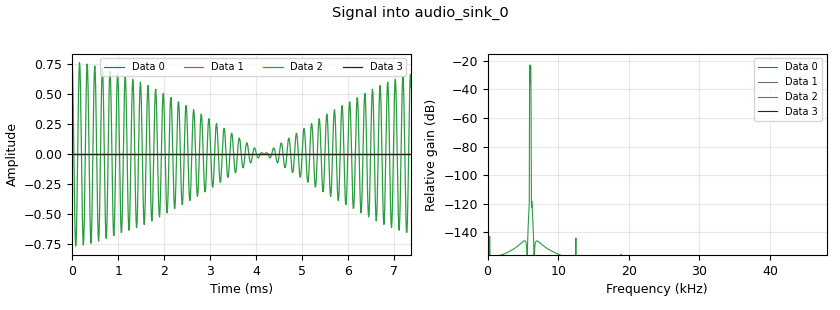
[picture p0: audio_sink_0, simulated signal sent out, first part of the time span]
<?xml version='1.0' encoding='utf-8'?>
<?grc format='1' created='3.7.13'?>
<flow_graph>
<block>
<key>options</key>
<param><key>id</key><value>top_block</value></param>
<param><key>generate_options</key><value>qt_gui</value></param>
</block>
<block>
<key>variable</key>
<param><key>id</key><value>avg_fact</value></param>
<param><key>value</key><value>16</value></param>
</block>
<block>
<key>variable</key>
<param><key>id</key><value>delay</value></param>
<param><key>value</key><value>fft_len/2</value></param>
</block>
<block>
<key>variable_qtgui_range</key>
<param><key>id</key><value>fc</value></param>
<param><key>value</key><value>6000</value></param>
<param><key>label</key><value>F_c</value></param>
<param><key>orient</key><value>Qt.Horizontal</value></param>
<param><key>start</key><value>20</value></param>
<param><key>step</key><value>10</value></param>
<param><key>stop</key><value>24000</value></param>
</block>
<block>
<key>variable</key>
<param><key>id</key><value>fft_len</value></param>
<param><key>value</key><value>8192</value></param>
</block>
<block>
<key>variable</key>
<param><key>id</key><value>samp_rate</value></param>
<param><key>value</key><value>96000</value></param>
</block>
<block>
<key>variable_qtgui_range</key>
<param><key>id</key><value>sep</value></param>
<param><key>value</key><value>100</value></param>
<param><key>label</key><value>Separation</value></param>
<param><key>orient</key><value>Qt.Horizontal</value></param>
<param><key>start</key><value>20</value></param>
<param><key>step</key><value>10</value></param>
<param><key>stop</key><value>1000</value></param>
</block>
<block>
<key>analog_sig_source_x</key>
<param><key>id</key><value>analog_sig_source_x_0</value></param>
<param><key>amp</key><value>.4</value></param>
<param><key>freq</key><value>fc</value></param>
<param><key>offset</key><value>0</value></param>
<param><key>type</key><value>float</value></param>
<param><key>samp_rate</key><value>samp_rate</value></param>
<param><key>waveform</key><value>analog.GR_COS_WAVE</value></param>
</block>
<block>
<key>analog_sig_source_x</key>
<param><key>id</key><value>analog_sig_source_x_0_0</value></param>
<param><key>amp</key><value>.4</value></param>
<param><key>freq</key><value>fc+sep</value></param>
<param><key>offset</key><value>0</value></param>
<param><key>type</key><value>float</value></param>
<param><key>samp_rate</key><value>samp_rate</value></param>
<param><key>waveform</key><value>analog.GR_COS_WAVE</value></param>
</block>
<block>
<key>audio_sink</key>
<param><key>id</key><value>audio_sink_0</value></param>
<param><key>device_name</key><value>hw:USB,0</value></param>
<param><key>num_inputs</key><value>4</value></param>
<param><key>samp_rate</key><value>samp_rate</value></param>
</block>
<block>
<key>audio_source</key>
<param><key>id</key><value>audio_source_0</value></param>
<param><key>device_name</key><value>hw:USB,0</value></param>
<param><key>num_outputs</key><value>2</value></param>
<param><key>samp_rate</key><value>samp_rate</value></param>
</block>
<block>
<key>blocks_add_xx</key>
<param><key>id</key><value>blocks_add_xx_0</value></param>
<param><key>type</key><value>float</value></param>
</block>
<block>
<key>blocks_complex_to_mag_squared</key>
<param><key>id</key><value>blocks_complex_to_mag_squared_0</value></param>
<param><key>vlen</key><value>fft_len</value></param>
</block>
<block>
<key>blocks_complex_to_mag_squared</key>
<param><key>id</key><value>blocks_complex_to_mag_squared_0_0</value></param>
<param><key>vlen</key><value>fft_len</value></param>
</block>
<block>
<key>blocks_complex_to_mag_squared</key>
<param><key>id</key><value>blocks_complex_to_mag_squared_0_0_0</value></param>
<param><key>vlen</key><value>fft_len</value></param>
</block>
<block>
<key>blocks_complex_to_mag_squared</key>
<param><key>id</key><value>blocks_complex_to_mag_squared_0_1</value></param>
<param><key>vlen</key><value>fft_len</value></param>
</block>
<block>
<key>blocks_delay</key>
<param><key>id</key><value>blocks_delay_0</value></param>
<param><key>delay</key><value>delay</value></param>
<param><key>type</key><value>float</value></param>
</block>
<block>
<key>blocks_delay</key>
<param><key>id</key><value>blocks_delay_0_0</value></param>
<param><key>delay</key><value>delay</value></param>
<param><key>type</key><value>float</value></param>
</block>
<block>
<key>blocks_nlog10_ff</key>
<param><key>id</key><value>blocks_nlog10_ff_0</value></param>
<param><key>vlen</key><value>fft_len</value></param>
<param><key>k</key><value>-10*np.log10(fft_len)</value></param>
<param><key>n</key><value>10</value></param>
</block>
<block>
<key>blocks_nlog10_ff</key>
<param><key>id</key><value>blocks_nlog10_ff_0_0</value></param>
<param><key>vlen</key><value>fft_len</value></param>
<param><key>k</key><value>-10*np.log10(fft_len)</value></param>
<param><key>n</key><value>10</value></param>
</block>
<block>
<key>blocks_null_source</key>
<param><key>id</key><value>blocks_null_source_0</value></param>
<param><key>bus_conns</key><value>[[0,],]</value></param>
<param><key>type</key><value>float</value></param>
</block>
<block>
<key>blocks_stream_mux</key>
<param><key>id</key><value>blocks_stream_mux_0</value></param>
<param><key>lengths</key><value>1, 1</value></param>
<param><key>type</key><value>float</value></param>
<param><key>vlen</key><value>fft_len</value></param>
</block>
<block>
<key>blocks_stream_mux</key>
<param><key>id</key><value>blocks_stream_mux_0_0</value></param>
<param><key>lengths</key><value>1, 1</value></param>
<param><key>type</key><value>float</value></param>
<param><key>vlen</key><value>fft_len</value></param>
</block>
<block>
<key>blocks_stream_to_vector</key>
<param><key>id</key><value>blocks_stream_to_vector_0</value></param>
<param><key>type</key><value>float</value></param>
<param><key>num_items</key><value>fft_len</value></param>
</block>
<block>
<key>blocks_stream_to_vector</key>
<param><key>id</key><value>blocks_stream_to_vector_0_0</value></param>
<param><key>type</key><value>float</value></param>
<param><key>num_items</key><value>fft_len</value></param>
</block>
<block>
<key>blocks_stream_to_vector</key>
<param><key>id</key><value>blocks_stream_to_vector_0_0_0</value></param>
<param><key>type</key><value>float</value></param>
<param><key>num_items</key><value>fft_len</value></param>
</block>
<block>
<key>blocks_stream_to_vector</key>
<param><key>id</key><value>blocks_stream_to_vector_0_1</value></param>
<param><key>type</key><value>float</value></param>
<param><key>num_items</key><value>fft_len</value></param>
</block>
<block>
<key>blocks_vector_to_stream</key>
<param><key>id</key><value>blocks_vector_to_stream_0</value></param>
<param><key>type</key><value>float</value></param>
<param><key>num_items</key><value>fft_len</value></param>
</block>
<block>
<key>blocks_vector_to_stream</key>
<param><key>id</key><value>blocks_vector_to_stream_0_0</value></param>
<param><key>type</key><value>float</value></param>
<param><key>num_items</key><value>fft_len</value></param>
</block>
<block>
<key>fft_vxx</key>
<param><key>id</key><value>fft_vxx_0</value></param>
<param><key>fft_size</key><value>fft_len</value></param>
<param><key>forward</key><value>True</value></param>
<param><key>type</key><value>float</value></param>
<param><key>shift</key><value>True</value></param>
<param><key>window</key><value>window.hann(fft_len)</value></param>
</block>
<block>
<key>fft_vxx</key>
<param><key>id</key><value>fft_vxx_0_0</value></param>
<param><key>fft_size</key><value>fft_len</value></param>
<param><key>forward</key><value>True</value></param>
<param><key>type</key><value>float</value></param>
<param><key>shift</key><value>True</value></param>
<param><key>window</key><value>window.hann(fft_len)</value></param>
</block>
<block>
<key>fft_vxx</key>
<param><key>id</key><value>fft_vxx_0_0_0</value></param>
<param><key>fft_size</key><value>fft_len</value></param>
<param><key>forward</key><value>True</value></param>
<param><key>type</key><value>float</value></param>
<param><key>shift</key><value>True</value></param>
<param><key>window</key><value>window.hann(fft_len)</value></param>
</block>
<block>
<key>fft_vxx</key>
<param><key>id</key><value>fft_vxx_0_1</value></param>
<param><key>fft_size</key><value>fft_len</value></param>
<param><key>forward</key><value>True</value></param>
<param><key>type</key><value>float</value></param>
<param><key>shift</key><value>True</value></param>
<param><key>window</key><value>window.hann(fft_len)</value></param>
</block>
<block>
<key>import</key>
<param><key>id</key><value>import_0_0_0</value></param>
<param><key>import</key><value>import numpy as np</value></param>
</block>
<block>
<key>qtgui_time_sink_x</key>
<param><key>id</key><value>qtgui_time_sink_x_0</value></param>
<param><key>ctrlpanel</key><value>True</value></param>
<param><key>color1</key><value>"blue"</value></param>
<param><key>label1</key><value></value></param>
<param><key>color2</key><value>"red"</value></param>
<param><key>label2</key><value></value></param>
<param><key>nconnections</key><value>2</value></param>
<param><key>size</key><value>fft_len</value></param>
<param><key>srate</key><value>1</value></param>
<param><key>type</key><value>float</value></param>
<param><key>update_time</key><value>0.01</value></param>
<param><key>ymax</key><value>10</value></param>
<param><key>ymin</key><value>-100</value></param>
</block>
<block>
<key>shfcc_vaverage_ff</key>
<param><key>id</key><value>shfcc_vaverage_ff_0</value></param>
<param><key>m</key><value>avg_fact</value></param>
<param><key>vlen</key><value>fft_len</value></param>
</block>
<block>
<key>shfcc_vaverage_ff</key>
<param><key>id</key><value>shfcc_vaverage_ff_0_0</value></param>
<param><key>m</key><value>avg_fact</value></param>
<param><key>vlen</key><value>fft_len</value></param>
</block>
<connection><source_block_id>analog_sig_source_x_0</source_block_id><sink_block_id>blocks_add_xx_0</sink_block_id><source_key>0</source_key><sink_key>0</sink_key></connection>
<connection><source_block_id>analog_sig_source_x_0_0</source_block_id><sink_block_id>blocks_add_xx_0</sink_block_id><source_key>0</source_key><sink_key>1</sink_key></connection>
<connection><source_block_id>audio_source_0</source_block_id><sink_block_id>blocks_delay_0</sink_block_id><source_key>0</source_key><sink_key>0</sink_key></connection>
<connection><source_block_id>audio_source_0</source_block_id><sink_block_id>blocks_stream_to_vector_0</sink_block_id><source_key>0</source_key><sink_key>0</sink_key></connection>
<connection><source_block_id>audio_source_0</source_block_id><sink_block_id>blocks_delay_0_0</sink_block_id><source_key>1</source_key><sink_key>0</sink_key></connection>
<connection><source_block_id>audio_source_0</source_block_id><sink_block_id>blocks_stream_to_vector_0_1</sink_block_id><source_key>1</source_key><sink_key>0</sink_key></connection>
<connection><source_block_id>blocks_add_xx_0</source_block_id><sink_block_id>audio_sink_0</sink_block_id><source_key>0</source_key><sink_key>2</sink_key></connection>
<connection><source_block_id>blocks_complex_to_mag_squared_0</source_block_id><sink_block_id>blocks_stream_mux_0</sink_block_id><source_key>0</source_key><sink_key>0</sink_key></connection>
<connection><source_block_id>blocks_complex_to_mag_squared_0_0</source_block_id><sink_block_id>blocks_stream_mux_0</sink_block_id><source_key>0</source_key><sink_key>1</sink_key></connection>
<connection><source_block_id>blocks_complex_to_mag_squared_0_0_0</source_block_id><sink_block_id>blocks_stream_mux_0_0</sink_block_id><source_key>0</source_key><sink_key>1</sink_key></connection>
<connection><source_block_id>blocks_complex_to_mag_squared_0_1</source_block_id><sink_block_id>blocks_stream_mux_0_0</sink_block_id><source_key>0</source_key><sink_key>0</sink_key></connection>
<connection><source_block_id>blocks_delay_0</source_block_id><sink_block_id>blocks_stream_to_vector_0_0</sink_block_id><source_key>0</source_key><sink_key>0</sink_key></connection>
<connection><source_block_id>blocks_delay_0_0</source_block_id><sink_block_id>blocks_stream_to_vector_0_0_0</sink_block_id><source_key>0</source_key><sink_key>0</sink_key></connection>
<connection><source_block_id>blocks_nlog10_ff_0</source_block_id><sink_block_id>blocks_vector_to_stream_0</sink_block_id><source_key>0</source_key><sink_key>0</sink_key></connection>
<connection><source_block_id>blocks_nlog10_ff_0_0</source_block_id><sink_block_id>blocks_vector_to_stream_0_0</sink_block_id><source_key>0</source_key><sink_key>0</sink_key></connection>
<connection><source_block_id>blocks_null_source_0</source_block_id><sink_block_id>audio_sink_0</sink_block_id><source_key>0</source_key><sink_key>0</sink_key></connection>
<connection><source_block_id>blocks_null_source_0</source_block_id><sink_block_id>audio_sink_0</sink_block_id><source_key>0</source_key><sink_key>1</sink_key></connection>
<connection><source_block_id>blocks_null_source_0</source_block_id><sink_block_id>audio_sink_0</sink_block_id><source_key>0</source_key><sink_key>3</sink_key></connection>
<connection><source_block_id>blocks_stream_mux_0</source_block_id><sink_block_id>shfcc_vaverage_ff_0</sink_block_id><source_key>0</source_key><sink_key>0</sink_key></connection>
<connection><source_block_id>blocks_stream_mux_0_0</source_block_id><sink_block_id>shfcc_vaverage_ff_0_0</sink_block_id><source_key>0</source_key><sink_key>0</sink_key></connection>
<connection><source_block_id>blocks_stream_to_vector_0</source_block_id><sink_block_id>fft_vxx_0</sink_block_id><source_key>0</source_key><sink_key>0</sink_key></connection>
<connection><source_block_id>blocks_stream_to_vector_0_0</source_block_id><sink_block_id>fft_vxx_0_0</sink_block_id><source_key>0</source_key><sink_key>0</sink_key></connection>
<connection><source_block_id>blocks_stream_to_vector_0_0_0</source_block_id><sink_block_id>fft_vxx_0_0_0</sink_block_id><source_key>0</source_key><sink_key>0</sink_key></connection>
<connection><source_block_id>blocks_stream_to_vector_0_1</source_block_id><sink_block_id>fft_vxx_0_1</sink_block_id><source_key>0</source_key><sink_key>0</sink_key></connection>
<connection><source_block_id>blocks_vector_to_stream_0</source_block_id><sink_block_id>qtgui_time_sink_x_0</sink_block_id><source_key>0</source_key><sink_key>0</sink_key></connection>
<connection><source_block_id>blocks_vector_to_stream_0_0</source_block_id><sink_block_id>qtgui_time_sink_x_0</sink_block_id><source_key>0</source_key><sink_key>1</sink_key></connection>
<connection><source_block_id>fft_vxx_0</source_block_id><sink_block_id>blocks_complex_to_mag_squared_0</sink_block_id><source_key>0</source_key><sink_key>0</sink_key></connection>
<connection><source_block_id>fft_vxx_0_0</source_block_id><sink_block_id>blocks_complex_to_mag_squared_0_0</sink_block_id><source_key>0</source_key><sink_key>0</sink_key></connection>
<connection><source_block_id>fft_vxx_0_0_0</source_block_id><sink_block_id>blocks_complex_to_mag_squared_0_0_0</sink_block_id><source_key>0</source_key><sink_key>0</sink_key></connection>
<connection><source_block_id>fft_vxx_0_1</source_block_id><sink_block_id>blocks_complex_to_mag_squared_0_1</sink_block_id><source_key>0</source_key><sink_key>0</sink_key></connection>
<connection><source_block_id>shfcc_vaverage_ff_0</source_block_id><sink_block_id>blocks_nlog10_ff_0</sink_block_id><source_key>0</source_key><sink_key>0</sink_key></connection>
<connection><source_block_id>shfcc_vaverage_ff_0_0</source_block_id><sink_block_id>blocks_nlog10_ff_0_0</sink_block_id><source_key>0</source_key><sink_key>0</sink_key></connection>
</flow_graph>
